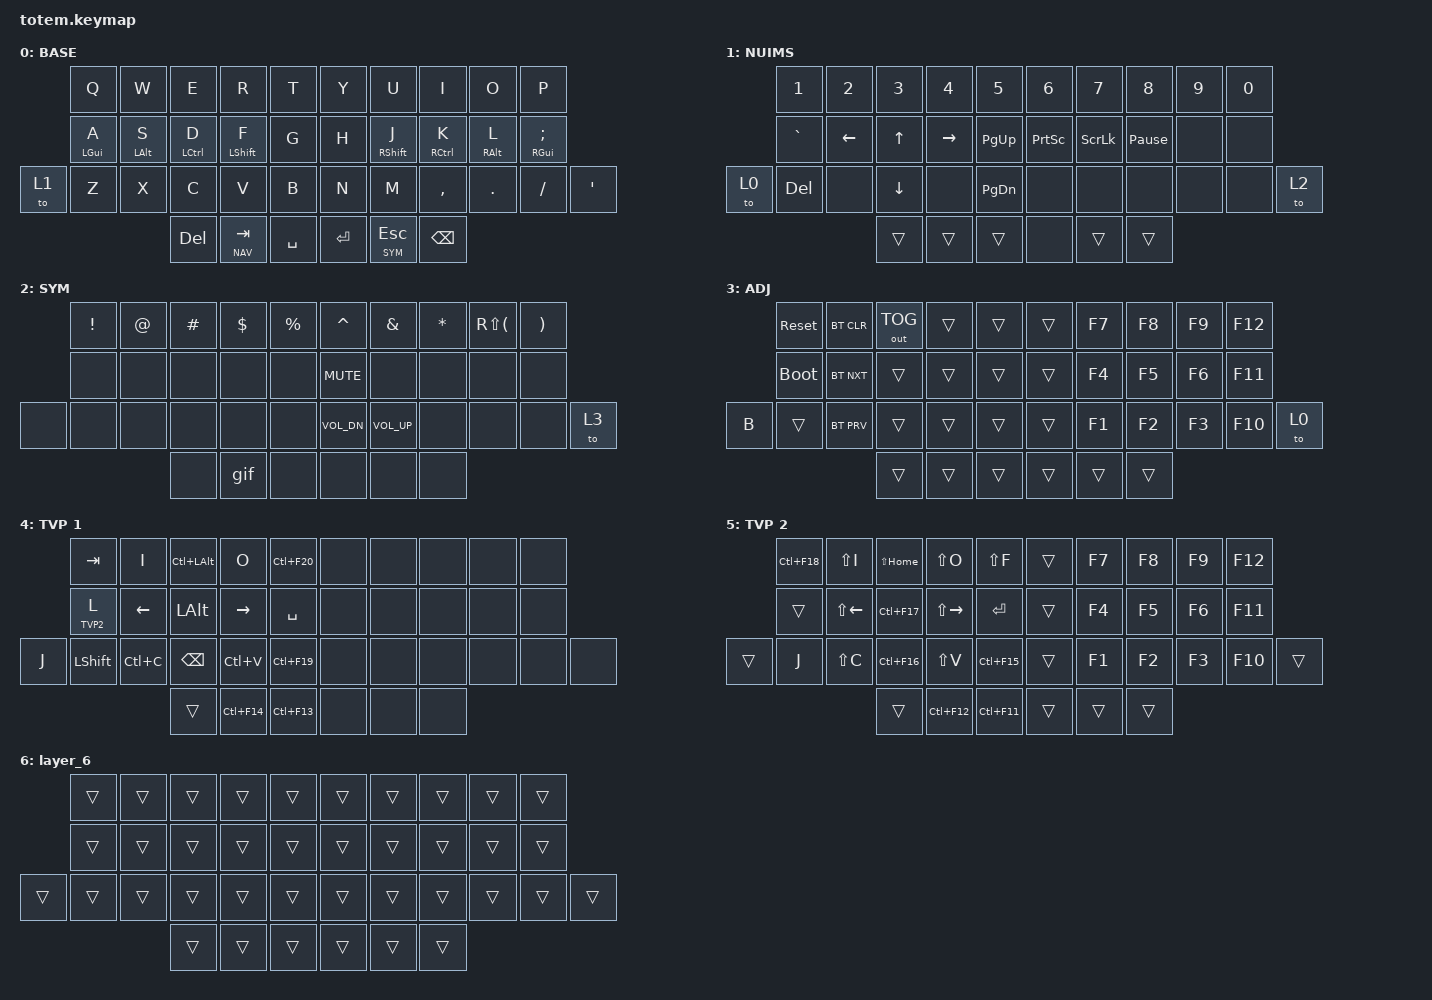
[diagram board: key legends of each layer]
//
//                                                        ▀▀▀▀▀     ▀▀▀▀▀          ▀▀█▀▀
//                                                        ▄▀▀▀▄  ▄  ▄▀▀▀▄  ▄  ▄▀▀▀▄  █  ▄▀▀▀▄
//                                                        █   █  █  █   █  █  █   █  █  █   █
//                                                         ▀▀▀   █   ▀▀▀   █   ▀▀▀   ▀   ▀▀▀
//                                                               █      ▄▄▄█▄▄▄    █   █  
//                                                               ▀      █  █  █     █▄█
//                                                             ▀▀▀▀▀    █  █  █      ▀
//                                                                      ▀  ▀  ▀
//
// ▄▄▄▄▄▄▄▄▄▄▄▄▄▄▄▄▄▄▄▄▄▄▄▄▄▄▄▄▄▄▄▄▄▄▄▄▄▄▄▄▄▄▄▄▄▄▄▄▄▄▄▄▄▄▄▄▄▄▄▄▄▄▄▄▄▄▄▄▄▄▄▄▄▄▄▄▄▄▄▄▄▄▄▄▄▄▄▄▄▄▄▄▄▄▄▄▄▄▄▄▄▄▄▄▄▄▄▄▄▄▄▄▄▄▄▄▄▄▄▄▄▄▄▄▄▄▄▄▄▄▄▄▄▄▄▄▄▄▄▄▄▄▄▄▄▄▄▄▄

#include <behaviors.dtsi>
#include <dt-bindings/zmk/bt.h>
#include <dt-bindings/zmk/keys.h>
#include <dt-bindings/zmk/outputs.h>

#define BASE 0
#define NAV  1
#define SYM  2
#define ADJ  3
#define TVP1 4
#define TVP2 5

&mt {
    quick-tap-ms = <100>;
    global-quick-tap;
    flavor = "tap-preferred";
    tapping-term-ms = <220>;
};

/ {
    combos {
        compatible = "zmk,combos";

        combo_esc {
            timeout-ms = <50>;
            key-positions = <0 1>;
            bindings = <&kp ESC>;
        };

        combo_tvp {
            timeout-ms = <100>;
            key-positions = <11 12 13>;
            bindings = <&tog TVP1>;
        };
    };

    macros {
        gif: gif {
            label = "giphy";
            compatible = "zmk,behavior-macro";
            #binding-cells = <0>;
            bindings =
                <&macro_press>,
                <&kp LSHFT>,
                <&macro_tap>,
                <&kp N2>,
                <&macro_release>,
                <&kp LSHFT>,
                <&macro_tap>,
                <&kp G &kp I &kp F>;
        };
    };

    keymap {
        compatible = "zmk,keymap";

        // ▄▄▄▄▄▄▄▄▄▄▄▄▄▄▄▄▄▄▄▄▄▄▄▄▄▄▄▄▄▄▄▄▄▄▄▄▄▄▄▄▄▄▄▄▄▄▄▄▄▄▄▄▄▄▄▄▄▄▄▄▄▄▄▄▄▄▄▄▄▄▄▄▄▄▄▄▄▄▄▄▄▄▄▄▄▄▄▄▄▄▄▄▄▄▄▄▄▄▄▄▄▄▄▄▄▄▄▄▄▄▄▄▄▄▄▄▄▄▄▄▄▄▄▄▄▄▄▄▄▄▄▄▄▄▄▄▄▄▄▄▄▄▄▄▄▄▄▄▄

        base_layer {
            // ┏━━━━━━━━━━━━━━━━━━━━━━━━━━━━━━━━━━━━━━━┓

            label = "BASE";

            // ┗━━━━━━━━━━━━━━━━━━━━━━━━━━━━━━━━━━━━━━━┛
            //             ┏━━━━━━━━━━━┳━━━━━━━━━━━┳━━━━━━━━━━━┳━━━━━━━━━━━┳━━━━━━━━━━━┓   ┏━━━━━━━━━━━┳━━━━━━━━━━━┳━━━━━━━━━━━┳━━━━━━━━━━━┳━━━━━━━━━━━┓
            //             ┃     Q     ┃     W     ┃     F     ┃     P     ┃     G     ┃   ┃     J     ┃     L     ┃     U     ┃     Y     ┃     ;     ┃
            //             ┣━━━━━━━━━━━╋━━━━━━━━━━━╋━━━━━━━━━━━╋━━━━━━━━━━━╋━━━━━━━━━━━┫   ┣━━━━━━━━━━━╋━━━━━━━━━━━╋━━━━━━━━━━━╋━━━━━━━━━━━╋━━━━━━━━━━━┫
            //             ┃     A     ┃     R     ┃     S     ┃     T     ┃     D     ┃   ┃     H     ┃     N     ┃     E     ┃     I     ┃     O     ┃
            // ┏━━━━━━━━━━━╋━━━━━━━━━━━╋━━━━━━━━━━━╋━━━━━━━━━━━╋━━━━━━━━━━━╋━━━━━━━━━━━┫   ┣━━━━━━━━━━━╋━━━━━━━━━━━╋━━━━━━━━━━━╋━━━━━━━━━━━╋━━━━━━━━━━━╋━━━━━━━━━━━┓
            // ┃     Q     ┃     Z     ┃     X     ┃     C     ┃     V     ┃     B     ┃   ┃     K     ┃     M     ┃     ,     ┃     .     ┃     /     ┃     \     ┃
            // ┗━━━━━━━━━━━┻━━━━━━━━━━━┻━━━━━━━━━━━╋━━━━━━━━━━━╋━━━━━━━━━━━╋━━━━━━━━━━━┫   ┣━━━━━━━━━━━╋━━━━━━━━━━━╋━━━━━━━━━━━╋━━━━━━━━━━━┻━━━━━━━━━━━┻━━━━━━━━━━━┛
            //                                     ┃    DEL    ┃    TAB    ┃    SPC    ┃   ┃   ENTER   ┃           ┃   BSPC    ┃
            //                                     ┗━━━━━━━━━━━┻━━━━━━━━━━━┻━━━━━━━━━━━┛   ┗━━━━━━━━━━━┻━━━━━━━━━━━┻━━━━━━━━━━━┛

            bindings = <
       &kp Q       &kp W       &kp E        &kp R        &kp T        &kp Y    &kp U        &kp I        &kp O       &kp P
       &mt LGUI A  &mt LALT S  &mt LCTRL D  &mt LSHFT F  &kp G        &kp H    &mt RSHFT J  &mt RCTRL K  &mt RALT L  &mt RGUI SEMICOLON
&to 1  &kp Z       &kp X       &kp C        &kp V        &kp B        &kp N    &kp M        &kp COMMA    &kp DOT     &kp FSLH            &kp SQT
                               &kp DEL      &lt NAV TAB  &kp SPACE    &kp RET  &lt SYM ESC  &kp BSPC
            >;
        };

        // ▄▄▄▄▄▄▄▄▄▄▄▄▄▄▄▄▄▄▄▄▄▄▄▄▄▄▄▄▄▄▄▄▄▄▄▄▄▄▄▄▄▄▄▄▄▄▄▄▄▄▄▄▄▄▄▄▄▄▄▄▄▄▄▄▄▄▄▄▄▄▄▄▄▄▄▄▄▄▄▄▄▄▄▄▄▄▄▄▄▄▄▄▄▄▄▄▄▄▄▄▄▄▄▄▄▄▄▄▄▄▄▄▄▄▄▄▄▄▄▄▄▄▄▄▄▄▄▄▄▄▄▄▄▄▄▄▄▄▄▄▄▄▄▄▄▄▄▄▄

        nav_layer {
            // ┏━━━━━━━━━━━━━━━━━━━━━━━━━━━━━━━━━━━━━━━┓

            label = "NUIMS";

            // ┗━━━━━━━━━━━━━━━━━━━━━━━━━━━━━━━━━━━━━━━┛
            //             ┏━━━━━━━━━━━┳━━━━━━━━━━━┳━━━━━━━━━━━┳━━━━━━━━━━━┳━━━━━━━━━━━┓   ┏━━━━━━━━━━━┳━━━━━━━━━━━┳━━━━━━━━━━━┳━━━━━━━━━━━┳━━━━━━━━━━━┓
            //             ┃           ┃           ┃     UP    ┃           ┃     {     ┃   ┃     }     ┃     7     ┃     8     ┃     9     ┃     +     ┃
            //             ┣━━━━━━━━━━━╋━━━━━━━━━━━╋━━━━━━━━━━━╋━━━━━━━━━━━╋━━━━━━━━━━━┫   ┣━━━━━━━━━━━╋━━━━━━━━━━━╋━━━━━━━━━━━╋━━━━━━━━━━━╋━━━━━━━━━━━┫
            //             ┃   SHIFT   ┃   LEFT    ┃    DOWN   ┃   RIGHT   ┃     [     ┃   ┃     ]     ┃     4     ┃     5     ┃     6     ┃     -     ┃
            // ┏━━━━━━━━━━━╋━━━━━━━━━━━╋━━━━━━━━━━━╋━━━━━━━━━━━╋━━━━━━━━━━━╋━━━━━━━━━━━┫   ┣━━━━━━━━━━━╋━━━━━━━━━━━╋━━━━━━━━━━━╋━━━━━━━━━━━╋━━━━━━━━━━━╋━━━━━━━━━━━┓
            // ┃           ┃           ┃   P UP    ┃  C LOCK   ┃  P DOWN   ┃     (     ┃   ┃     )     ┃     1     ┃     2     ┃     3     ┃     *     ┃           ┃
            // ┗━━━━━━━━━━━┻━━━━━━━━━━━┻━━━━━━━━━━━╋━━━━━━━━━━━╋━━━━━━━━━━━╋━━━━━━━━━━━┫   ┣━━━━━━━━━━━╋━━━━━━━━━━━╋━━━━━━━━━━━╋━━━━━━━━━━━┻━━━━━━━━━━━┻━━━━━━━━━━━┛
            //                                     ┃           ┃    TAB    ┃    SPC    ┃   ┃    DEL    ┃     0     ┃           ┃
            //                                     ┗━━━━━━━━━━━┻━━━━━━━━━━━┻━━━━━━━━━━━┛   ┗━━━━━━━━━━━┻━━━━━━━━━━━┻━━━━━━━━━━━┛

            bindings = <
       &kp NUMBER_1  &kp NUMBER_2  &kp NUMBER_3  &kp NUMBER_4  &kp N5           &kp NUMBER_6     &kp N7          &kp N8           &kp N9  &kp N0
       &kp GRAVE     &kp LEFT      &kp UP_ARROW  &kp RIGHT     &kp PAGE_UP      &kp PRINTSCREEN  &kp SCROLLLOCK  &kp PAUSE_BREAK  &none   &none
&to 0  &kp DEL       &none         &kp DOWN      &none         &kp PAGE_DOWN    &none            &none           &none            &none   &none   &to 2
                                   &trans        &trans        &trans           &none            &trans          &trans
            >;
        };

        // ▄▄▄▄▄▄▄▄▄▄▄▄▄▄▄▄▄▄▄▄▄▄▄▄▄▄▄▄▄▄▄▄▄▄▄▄▄▄▄▄▄▄▄▄▄▄▄▄▄▄▄▄▄▄▄▄▄▄▄▄▄▄▄▄▄▄▄▄▄▄▄▄▄▄▄▄▄▄▄▄▄▄▄▄▄▄▄▄▄▄▄▄▄▄▄▄▄▄▄▄▄▄▄▄▄▄▄▄▄▄▄▄▄▄▄▄▄▄▄▄▄▄▄▄▄▄▄▄▄▄▄▄▄▄▄▄▄▄▄▄▄▄▄▄▄▄▄▄▄

        sim_layer {
            // ┏━━━━━━━━━━━━━━━━━━━━━━━━━━━━━━━━━━━━━━━┓

            label = "SYM";

            // ┗━━━━━━━━━━━━━━━━━━━━━━━━━━━━━━━━━━━━━━━┛
            //             ┏━━━━━━━━━━━┳━━━━━━━━━━━┳━━━━━━━━━━━┳━━━━━━━━━━━┳━━━━━━━━━━━┓   ┏━━━━━━━━━━━┳━━━━━━━━━━━┳━━━━━━━━━━━┳━━━━━━━━━━━┳━━━━━━━━━━━┓
            //             ┃     !     ┃     @     ┃     #     ┃     $     ┃     %     ┃   ┃     ˆ     ┃     &     ┃     Ü     ┃     '     ┃     "     ┃
            //             ┣━━━━━━━━━━━╋━━━━━━━━━━━╋━━━━━━━━━━━╋━━━━━━━━━━━╋━━━━━━━━━━━┫   ┣━━━━━━━━━━━╋━━━━━━━━━━━╋━━━━━━━━━━━╋━━━━━━━━━━━╋━━━━━━━━━━━┫
            //             ┃     Ä     ┃           ┃    SZ     ┃           ┃           ┃   ┃   MUTE    ┃   YEN     ┃   EURO    ┃  POUND    ┃     Ö     ┃
            // ┏━━━━━━━━━━━╋━━━━━━━━━━━╋━━━━━━━━━━━╋━━━━━━━━━━━╋━━━━━━━━━━━╋━━━━━━━━━━━┫   ┣━━━━━━━━━━━╋━━━━━━━━━━━╋━━━━━━━━━━━╋━━━━━━━━━━━╋━━━━━━━━━━━╋━━━━━━━━━━━┓
            // ┃           ┃  EMAIL1   ┃  EMAIL2   ┃           ┃           ┃           ┃   ┃   VOL-    ┃   VOL+    ┃   LAST    ┃   NEXT    ┃     \     ┃           ┃
            // ┗━━━━━━━━━━━┻━━━━━━━━━━━┻━━━━━━━━━━━╋━━━━━━━━━━━╋━━━━━━━━━━━╋━━━━━━━━━━━┫   ┣━━━━━━━━━━━╋━━━━━━━━━━━╋━━━━━━━━━━━╋━━━━━━━━━━━┻━━━━━━━━━━━┻━━━━━━━━━━━┛
            //                                     ┃           ┃    GIF    ┃    ADJ    ┃   ┃           ┃           ┃           ┃
            //                                     ┗━━━━━━━━━━━┻━━━━━━━━━━━┻━━━━━━━━━━━┛   ┗━━━━━━━━━━━┻━━━━━━━━━━━┻━━━━━━━━━━━┛

            bindings = <
       &kp EXCL  &kp AT  &kp HASH  &kp DLLR  &kp PRCNT    &kp CARET     &kp AMPS      &kp ASTERISK  &kp RS(LEFT_PARENTHESIS)  &kp RPAR
       &none     &none   &none     &none     &none        &kp C_MUTE    &none         &none         &none                     &none
&none  &none     &none   &none     &none     &none        &kp C_VOL_DN  &kp C_VOL_UP  &none         &none                     &none     &to 3
                         &none     &gif      &none        &none         &none         &none
            >;
        };

        // ▄▄▄▄▄▄▄▄▄▄▄▄▄▄▄▄▄▄▄▄▄▄▄▄▄▄▄▄▄▄▄▄▄▄▄▄▄▄▄▄▄▄▄▄▄▄▄▄▄▄▄▄▄▄▄▄▄▄▄▄▄▄▄▄▄▄▄▄▄▄▄▄▄▄▄▄▄▄▄▄▄▄▄▄▄▄▄▄▄▄▄▄▄▄▄▄▄▄▄▄▄▄▄▄▄▄▄▄▄▄▄▄▄▄▄▄▄▄▄▄▄▄▄▄▄▄▄▄▄▄▄▄▄▄▄▄▄▄▄▄▄▄▄▄▄▄▄▄▄

        adjust_layer {
            // ┏━━━━━━━━━━━━━━━━━━━━━━━━━━━━━━━━━━━━━━━┓

            label = "ADJ";

            // ┗━━━━━━━━━━━━━━━━━━━━━━━━━━━━━━━━━━━━━━━┛
            //             ┏━━━━━━━━━━━┳━━━━━━━━━━━┳━━━━━━━━━━━┳━━━━━━━━━━━┳━━━━━━━━━━━┓   ┏━━━━━━━━━━━┳━━━━━━━━━━━┳━━━━━━━━━━━┳━━━━━━━━━━━┳━━━━━━━━━━━┓
            //             ┃   RESET   ┃ BT CLEAR  ┃  OUT TOG  ┃           ┃           ┃   ┃           ┃    F7     ┃    F8     ┃    F9     ┃    F12    ┃
            //             ┣━━━━━━━━━━━╋━━━━━━━━━━━╋━━━━━━━━━━━╋━━━━━━━━━━━╋━━━━━━━━━━━┫   ┣━━━━━━━━━━━╋━━━━━━━━━━━╋━━━━━━━━━━━╋━━━━━━━━━━━╋━━━━━━━━━━━┫
            //             ┃ BOOTLOAD  ┃ BT NEXT   ┃           ┃           ┃           ┃   ┃           ┃    F4     ┃    F5     ┃    F6     ┃    F11    ┃
            // ┏━━━━━━━━━━━╋━━━━━━━━━━━╋━━━━━━━━━━━╋━━━━━━━━━━━╋━━━━━━━━━━━╋━━━━━━━━━━━┫   ┣━━━━━━━━━━━╋━━━━━━━━━━━╋━━━━━━━━━━━╋━━━━━━━━━━━╋━━━━━━━━━━━╋━━━━━━━━━━━┓
            // ┃           ┃           ┃ BT PREV   ┃           ┃           ┃           ┃   ┃           ┃    F1     ┃    F2     ┃    F3     ┃    F10    ┃           ┃
            // ┗━━━━━━━━━━━┻━━━━━━━━━━━┻━━━━━━━━━━━╋━━━━━━━━━━━╋━━━━━━━━━━━╋━━━━━━━━━━━┫   ┣━━━━━━━━━━━╋━━━━━━━━━━━╋━━━━━━━━━━━╋━━━━━━━━━━━┻━━━━━━━━━━━┻━━━━━━━━━━━┛
            //                                     ┃           ┃           ┃           ┃   ┃           ┃           ┃           ┃
            //                                     ┗━━━━━━━━━━━┻━━━━━━━━━━━┻━━━━━━━━━━━┛   ┗━━━━━━━━━━━┻━━━━━━━━━━━┻━━━━━━━━━━━┛

            bindings = <
       &sys_reset   &bt BT_CLR  &out OUT_TOG  &trans  &trans    &trans  &kp F7  &kp F8  &kp F9  &kp F12
       &bootloader  &bt BT_NXT  &trans        &trans  &trans    &trans  &kp F4  &kp F5  &kp F6  &kp F11
&kp B  &trans       &bt BT_PRV  &trans        &trans  &trans    &trans  &kp F1  &kp F2  &kp F3  &kp F10  &to 0
                                &trans        &trans  &trans    &trans  &trans  &trans
            >;
        };

        // ▄▄▄▄▄▄▄▄▄▄▄▄▄▄▄▄▄▄▄▄▄▄▄▄▄▄▄▄▄▄▄▄▄▄▄▄▄▄▄▄▄▄▄▄▄▄▄▄▄▄▄▄▄▄▄▄▄▄▄▄▄▄▄▄▄▄▄▄▄▄▄▄▄▄▄▄▄▄▄▄▄▄▄▄▄▄▄▄▄▄▄▄▄▄▄▄▄▄▄▄▄▄▄▄▄▄▄▄▄▄▄▄▄▄▄▄▄▄▄▄▄▄▄▄▄▄▄▄▄▄▄▄▄▄▄▄▄▄▄▄▄▄▄▄▄▄▄▄▄

        tvp1_layer {
            // ┏━━━━━━━━━━━━━━━━━━━━━━━━━━━━━━━━━━━━━━━┓

            label = "TVP 1";

            // ┗━━━━━━━━━━━━━━━━━━━━━━━━━━━━━━━━━━━━━━━┛
            //             ┏━━━━━━━━━━━┳━━━━━━━━━━━┳━━━━━━━━━━━┳━━━━━━━━━━━┳━━━━━━━━━━━┓   ┏━━━━━━━━━━━┳━━━━━━━━━━━┳━━━━━━━━━━━┳━━━━━━━━━━━┳━━━━━━━━━━━┓
            //             ┃ NEXT FILE ┃ MARK IN   ┃ ROTATE    ┃ MARK OUT  ┃ SHOW SNAP ┃   ┃           ┃           ┃           ┃           ┃           ┃
            //             ┣━━━━━━━━━━━╋━━━━━━━━━━━╋━━━━━━━━━━━╋━━━━━━━━━━━╋━━━━━━━━━━━┫   ┣━━━━━━━━━━━╋━━━━━━━━━━━╋━━━━━━━━━━━╋━━━━━━━━━━━╋━━━━━━━━━━━┫
            //             ┃ TVP II    ┃ LEFT      ┃ PAN       ┃ RIGHT     ┃ PLAY/FLIP ┃   ┃           ┃           ┃           ┃           ┃           ┃
            // ┏━━━━━━━━━━━╋━━━━━━━━━━━╋━━━━━━━━━━━╋━━━━━━━━━━━╋━━━━━━━━━━━╋━━━━━━━━━━━┫   ┣━━━━━━━━━━━╋━━━━━━━━━━━╋━━━━━━━━━━━╋━━━━━━━━━━━╋━━━━━━━━━━━╋━━━━━━━━━━━┓
            // ┃ FULLSCR   ┃ SHIFT     ┃ COPY      ┃ DELETE    ┃ PASTE     ┃ IMG MARK  ┃   ┃           ┃           ┃           ┃           ┃           ┃           ┃
            // ┗━━━━━━━━━━━┻━━━━━━━━━━━┻━━━━━━━━━━━╋━━━━━━━━━━━╋━━━━━━━━━━━╋━━━━━━━━━━━┫   ┣━━━━━━━━━━━╋━━━━━━━━━━━╋━━━━━━━━━━━╋━━━━━━━━━━━┻━━━━━━━━━━━┻━━━━━━━━━━━┛
            //                                     ┃           ┃ UNDO/SAVE ┃  SEL/MOV  ┃   ┃           ┃           ┃           ┃
            //                                     ┗━━━━━━━━━━━┻━━━━━━━━━━━┻━━━━━━━━━━━┛   ┗━━━━━━━━━━━┻━━━━━━━━━━━┻━━━━━━━━━━━┛

            bindings = <
       &kp TAB     &kp I      &kp LC(LALT)  &kp O        &kp LC(F20)    &none  &none  &none  &none  &none
       &lt TVP2 L  &kp LEFT   &kp LALT      &kp RIGHT    &kp SPACE      &none  &none  &none  &none  &none
&kp J  &kp LSHFT   &kp LC(C)  &kp BSPC      &kp LC(V)    &kp LC(F19)    &none  &none  &none  &none  &none  &none
                              &trans        &kp LC(F14)  &kp LC(F13)    &none  &none  &none
            >;
        };

        // ▄▄▄▄▄▄▄▄▄▄▄▄▄▄▄▄▄▄▄▄▄▄▄▄▄▄▄▄▄▄▄▄▄▄▄▄▄▄▄▄▄▄▄▄▄▄▄▄▄▄▄▄▄▄▄▄▄▄▄▄▄▄▄▄▄▄▄▄▄▄▄▄▄▄▄▄▄▄▄▄▄▄▄▄▄▄▄▄▄▄▄▄▄▄▄▄▄▄▄▄▄▄▄▄▄▄▄▄▄▄▄▄▄▄▄▄▄▄▄▄▄▄▄▄▄▄▄▄▄▄▄▄▄▄▄▄▄▄▄▄▄▄▄▄▄▄▄▄▄

        tvp2_layer {
            // ┏━━━━━━━━━━━━━━━━━━━━━━━━━━━━━━━━━━━━━━━┓

            label = "TVP 2";

            // ┗━━━━━━━━━━━━━━━━━━━━━━━━━━━━━━━━━━━━━━━┛
            //             ┏━━━━━━━━━━━┳━━━━━━━━━━━┳━━━━━━━━━━━┳━━━━━━━━━━━┳━━━━━━━━━━━┓   ┏━━━━━━━━━━━┳━━━━━━━━━━━┳━━━━━━━━━━━┳━━━━━━━━━━━┳━━━━━━━━━━━┓
            //             ┃ SOLO      ┃ TOGGLE IN ┃ RESET ROT ┃ TOGGLE OUT┃ TAKE SNAP ┃   ┃           ┃           ┃           ┃           ┃           ┃
            //             ┣━━━━━━━━━━━╋━━━━━━━━━━━╋━━━━━━━━━━━╋━━━━━━━━━━━╋━━━━━━━━━━━┫   ┣━━━━━━━━━━━╋━━━━━━━━━━━╋━━━━━━━━━━━╋━━━━━━━━━━━╋━━━━━━━━━━━┫
            //             ┃ ---       ┃ LAST KEY  ┃ NEW KEY   ┃ NEXT KEY  ┃ ENTER     ┃   ┃           ┃           ┃           ┃           ┃           ┃
            // ┏━━━━━━━━━━━╋━━━━━━━━━━━╋━━━━━━━━━━━╋━━━━━━━━━━━╋━━━━━━━━━━━╋━━━━━━━━━━━┫   ┣━━━━━━━━━━━╋━━━━━━━━━━━╋━━━━━━━━━━━╋━━━━━━━━━━━╋━━━━━━━━━━━╋━━━━━━━━━━━┓
            // ┃           ┃ FULLSCR   ┃ CPY2BRUSH ┃ DEL HEAD  ┃ PSTinPLACE┃ BOOK MARK ┃   ┃           ┃           ┃           ┃           ┃           ┃           ┃
            // ┗━━━━━━━━━━━┻━━━━━━━━━━━┻━━━━━━━━━━━╋━━━━━━━━━━━╋━━━━━━━━━━━╋━━━━━━━━━━━┫   ┣━━━━━━━━━━━╋━━━━━━━━━━━╋━━━━━━━━━━━╋━━━━━━━━━━━┻━━━━━━━━━━━┻━━━━━━━━━━━┛
            //                                     ┃           ┃ REDO/SAV1 ┃TRANS/WARP ┃   ┃           ┃           ┃           ┃
            //                                     ┗━━━━━━━━━━━┻━━━━━━━━━━━┻━━━━━━━━━━━┛   ┗━━━━━━━━━━━┻━━━━━━━━━━━┻━━━━━━━━━━━┛

            bindings = <
        &kp LC(F18)  &kp LS(I)     &kp LS(HOME)  &kp LS(O)      &kp LS(F)      &trans  &kp F7  &kp F8  &kp F9  &kp F12
        &trans       &kp LS(LEFT)  &kp LC(F17)   &kp LS(RIGHT)  &kp RET        &trans  &kp F4  &kp F5  &kp F6  &kp F11
&trans  &kp J        &kp LS(C)     &kp LC(F16)   &kp LS(V)      &kp LC(F15)    &trans  &kp F1  &kp F2  &kp F3  &kp F10  &trans
                                   &trans        &kp LC(F12)    &kp LC(F11)    &trans  &trans  &trans
            >;
        };

        layer_6 {
            bindings = <
        &trans  &trans  &trans  &trans  &trans    &trans  &trans  &trans  &trans  &trans
        &trans  &trans  &trans  &trans  &trans    &trans  &trans  &trans  &trans  &trans
&trans  &trans  &trans  &trans  &trans  &trans    &trans  &trans  &trans  &trans  &trans  &trans
                        &trans  &trans  &trans    &trans  &trans  &trans
            >;
        };
    };
};
